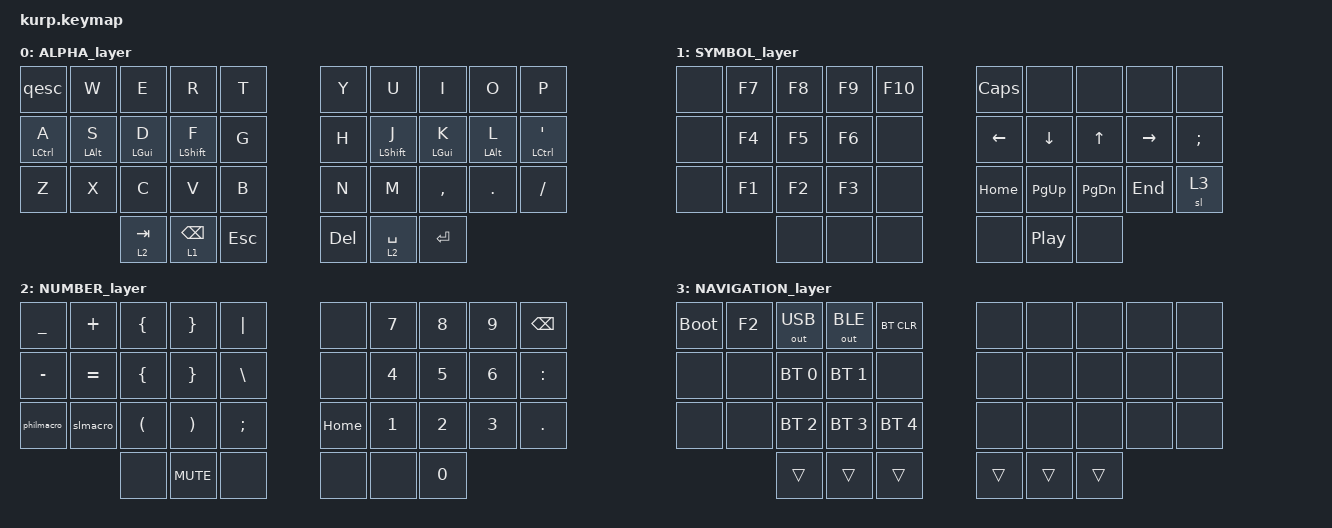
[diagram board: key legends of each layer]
/*
 * Copyright (c) 2023 The ZMK Contributors
 *
 * SPDX-License-Identifier: MIT
 */

#include <behaviors.dtsi>
#include <dt-bindings/zmk/keys.h>
#include <dt-bindings/zmk/bt.h>
#include <dt-bindings/zmk/outputs.h>

#define ALPHA       0
#define SYMBOL      1
#define NUMBER      2
#define NAVIGATION  3

&mt {
    flavor = "tap-preferred";
    tapping_term_ms = <180>;
};

&lt {
    tapping_term_ms = <150>;
};

/ {
    combos {
        compatible = "zmk,combos";
        combo_bootloader {
            timeout-ms = <50>;
            key-positions = <0 9>;
            bindings = <&bootloader>;

        };
    };

    behaviors {
        qesc: tap_dance_qesc {
            compatible = "zmk,behavior-tap-dance";
            label = "tap_dance_qesc";
            #binding-cells = <0>;
            tapping-term-ms = <300>;
            bindings = <&kp Q>, <&kp ESC>;
        };

        bkt: tap_dance_bracket {
            compatible = "zmk,behavior-tap-dance";
            label = "tap_dance_bracket";
            #binding-cells = <0>;
            tapping-term-ms = <200>;
            bindings = <&kp LBKT>, <&kp RBKT>;
        };

        brc: tap_dance_brace {
            compatible = "zmk,behavior-tap-dance";
            label = "tap_dance_braces";
            #binding-cells = <0>;
            tapping-term-ms = <200>;
            bindings = <&kp LBRC>, <&kp RBRC>;
        };

        par: tap_dance_paren {
            compatible = "zmk,behavior-tap-dance";
            label = "tap_dance_paren";
            #binding-cells = <0>;
            tapping-term-ms = <200>;
            bindings = <&kp LPAR>, <&kp RPAR>;
        };

        thn: tap_dance_then {
            compatible = "zmk,behavior-tap-dance";
            label = "tap_dance_then";
            #binding-cells = <0>;
            tapping-term-ms = <200>;
            bindings = <&kp LT>, <&kp GT>;
        };

        skq: sticky_quick {
            compatible = "zmk,behavior-sticky-key";
            label = "sticky_quick";
            #binding-cells = <1>;
            bindings = <&kp>;
            release-after-ms = <200>;
            quick-release;
        };

        hrm: homerow_mods {
           compatible = "zmk,behavior-hold-tap";
           label = "homerow_mods";
           #binding-cells = <2>;
           tapping-term-ms = <250>;
           quick-tap-ms = <0>;
           flavor = "tap-preferred";
           bindings = <&kp>, <&kp>;

        };

    };

    macros {
      ZMK_MACRO(thumbs_up,
		wait-ms = <1>;
		tap-ms = <5>;
                bindings = <&kp PLUS &kp COLON &kp PLUS &kp N1 &kp COLON &kp RET>;
		)

        slmacro: slmacro {
            label = "slmacro";
            compatible = "zmk,behavior-macro";
            #binding-cells = <0>;
            wait-ms = <5>;
            tap-ms = <10>;
            bindings
                = <&macro_tap_time 10>
                , <&macro_press &kp LSHFT>
                , <&macro_tap &kp L>
                , <&macro_release &kp LSHFT>
                , <&macro_tap &kp I &kp N &kp K &kp N8>
                , <&macro_press &kp LSHFT>
                , <&macro_tap &kp S>
                , <&macro_release &kp LSHFT>
                , <&macro_tap &kp E &kp R &kp V &kp I &kp C &kp E &kp RET>
                ;
        };

        philmacro: philmacro {
            label = "philmacro";
            compatible = "zmk,behavior-macro";
            #binding-cells = <0>;
            wait-ms = <5>;
            tap-ms = <10>;
            bindings
                = <&macro_tap_time 10>
                , <&macro_tap &kp D &kp O &kp I &kp N &kp K &kp N4 &kp N2 &kp RET>
                ;
        };
    };

    conditional_layers {
        compatible = "zmk,conditional-layers";
        tri_layer {
            if-layers = <SYMBOL NUMBER>;
            then-layer = <NAVIGATION>;
        };
    };

    keymap {
        compatible = "zmk,keymap";

        ALPHA_layer {
            bindings = <
                &qesc   &kp W   &kp E       &kp R       &kp T        &kp Y     &kp U            &kp I     &kp O    &kp P
                &mt LCTRL A &mt LALT S &mt LGUI D &mt LSHIFT F &kp G &kp H &mt LSHIFT J &mt LGUI K &mt LALT L &mt LCTRL SQT
                &kp Z   &kp X   &kp C       &kp V       &kp B        &kp N     &kp M     &kp COMMA &kp DOT  &kp SLASH
                                &lt 2 TAB &lt 1 BSPC &kp ESC &kp DEL &lt 2 SPACE &kp RET
            >;
        };

        SYMBOL_layer {
            bindings = <
                &none   &kp F7   &kp F8    &kp F9    &kp F10   &kp CAPS   &none    &none    &none    &none
                &none   &kp F4   &kp F5    &kp F6    &none  &kp LEFT   &kp DOWN    &kp UP      &kp RIGHT   &kp SEMI
                &none   &kp F1   &kp F2    &kp F3    &none  &kp HOME   &kp PG_UP   &kp PG_DN   &kp END     &sl 3
                                        &none   &none   &none      &none    &kp C_PP      &none
            >;
        };

        NUMBER_layer {
            bindings = <
                &kp UNDER   &kp PLUS    &kp LBRC    &kp RBRC    &kp PIPE    &none    &kp N7      &kp N8      &kp N9  &kp BSPC
                &kp MINUS   &kp EQUAL   &kp LBRC    &kp RBRC    &kp BSLH    &none    &kp N4      &kp N5      &kp N6  &kp COLON
                &philmacro  &slmacro    &kp LPAR    &kp RPAR    &kp SEMI    &kp HOME    &kp N1      &kp N2      &kp N3  &kp DOT
                                        &none       &kp C_MUTE  &none       &none       &none    &kp N0
            >;
        };

        NAVIGATION_layer {
            bindings = <
                &bootloader &kp F2          &out OUT_USB    &out OUT_BLE    &bt BT_CLR      &none       &none    &none      &none     &none 
                &none       &none           &bt BT_SEL 0    &bt BT_SEL 1    &none           &none       &none    &none      &none  &none
                &none       &none           &bt BT_SEL 2    &bt BT_SEL 3    &bt BT_SEL 4    &none       &none    &none   &none  &none    
                                            &trans          &trans          &trans          &trans      &trans      &trans
            >;
        };
    };
};
